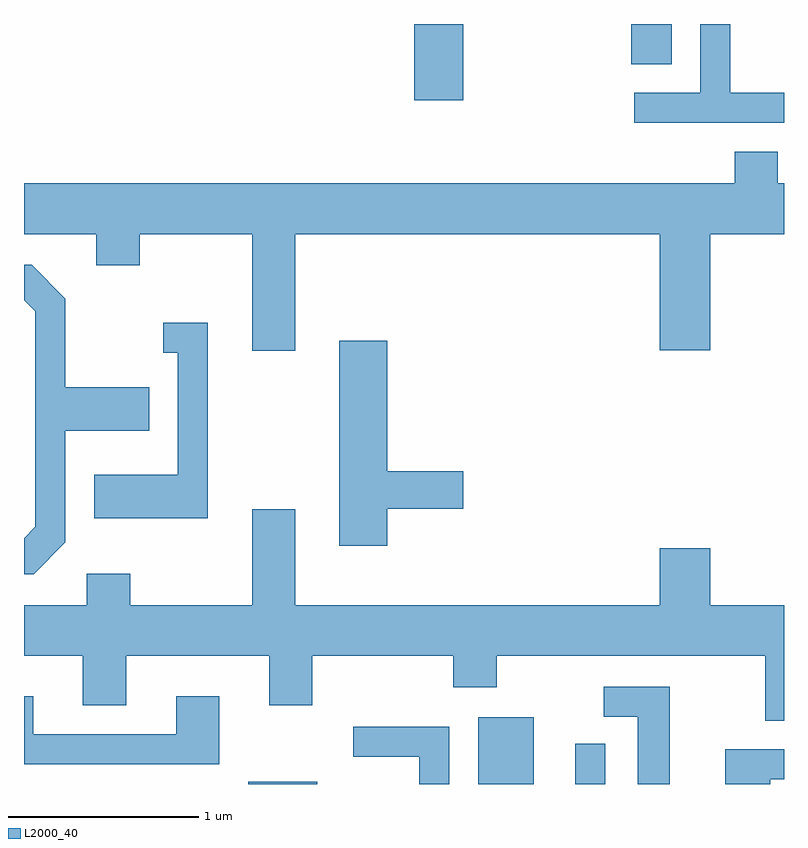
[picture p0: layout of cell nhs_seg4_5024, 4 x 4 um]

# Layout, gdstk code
import gdstk
lib = gdstk.Library(unit=1e-6, precision=1e-09)
def R(c, l, rs):  # rectangles x0, y0, x1, y1
    for r in rs: c.add(gdstk.rectangle(r[:2], r[2:], *l))
def P(c, l, *ps):  # polygons
    for p in ps: c.add(gdstk.Polygon(p, *l))
L2000_40 = (2000, 40)

nhs_seg4_5024 = lib.new_cell('nhs_seg4_5024')
R(nhs_seg4_5024, L2000_40, [(332.791,1373.982,333.154,1373.994), (334.001,1373.982,334.294,1374.334), (334.511,1373.982,334.669,1374.193), (333.666,1377.581,333.924,1377.982), (334.806,1377.771,335.019,1377.982)])
P(nhs_seg4_5024, L2000_40, [(335.611,1377.619),(335.329,1377.619),(335.329,1377.982),(335.171,1377.982),(335.171,1377.619),(334.823,1377.619),(334.823,1377.461),(335.611,1377.461)],
  [(333.039,1376.876),(334.956,1376.876),(334.956,1376.266),(335.224,1376.266),(335.224,1376.876),(335.611,1376.876),(335.611,1377.144),(335.579,1377.144),(335.579,1377.309),(335.351,1377.309),(335.351,1377.144),(331.611,1377.144),(331.611,1376.876),(331.991,1376.876),(331.991,1376.711),(332.219,1376.711),(332.219,1376.876),(332.811,1376.876),(332.811,1376.261),(333.039,1376.261)],
  [(331.829,1375.254),(331.829,1375.841),(332.269,1375.841),(332.269,1376.069),(331.829,1376.069),(331.829,1376.537),(331.652,1376.714),(331.611,1376.714),(331.611,1376.529),(331.671,1376.469),(331.671,1375.337),(331.611,1375.276),(331.611,1375.086),(331.662,1375.086)],
  [(332.579,1376.409),(332.343,1376.409),(332.343,1376.251),(332.421,1376.251),(332.421,1375.609),(331.981,1375.609),(331.981,1375.381),(332.579,1375.381)],
  [(333.524,1375.431),(333.924,1375.431),(333.924,1375.629),(333.524,1375.629),(333.524,1376.314),(333.271,1376.314),(333.271,1375.236),(333.524,1375.236)],
  [(332.811,1375.429),(332.811,1374.924),(332.169,1374.924),(332.169,1375.089),(331.941,1375.089),(331.941,1374.924),(331.611,1374.924),(331.611,1374.656),(331.921,1374.656),(331.921,1374.396),(332.149,1374.396),(332.149,1374.656),(332.901,1374.656),(332.901,1374.396),(333.129,1374.396),(333.129,1374.656),(333.871,1374.656),(333.871,1374.491),(334.099,1374.491),(334.099,1374.656),(335.511,1374.656),(335.511,1374.316),(335.611,1374.316),(335.611,1374.924),(335.224,1374.924),(335.224,1375.224),(334.956,1375.224),(334.956,1374.924),(333.039,1374.924),(333.039,1375.429)],
  [(335.009,1374.494),(334.663,1374.494),(334.663,1374.336),(334.841,1374.336),(334.841,1373.982),(335.009,1373.982)],
  [(332.639,1374.444),(332.411,1374.444),(332.411,1374.244),(331.659,1374.244),(331.659,1374.444),(331.611,1374.444),(331.611,1374.086),(332.639,1374.086)],
  [(333.849,1374.284),(333.343,1374.284),(333.343,1374.126),(333.691,1374.126),(333.691,1373.982),(333.849,1373.982)],
  [(335.539,1374.006),(335.611,1374.006),(335.611,1374.164),(335.301,1374.164),(335.301,1373.982),(335.539,1373.982)])

lib.write_gds('nhs_seg4_5024.gds')
